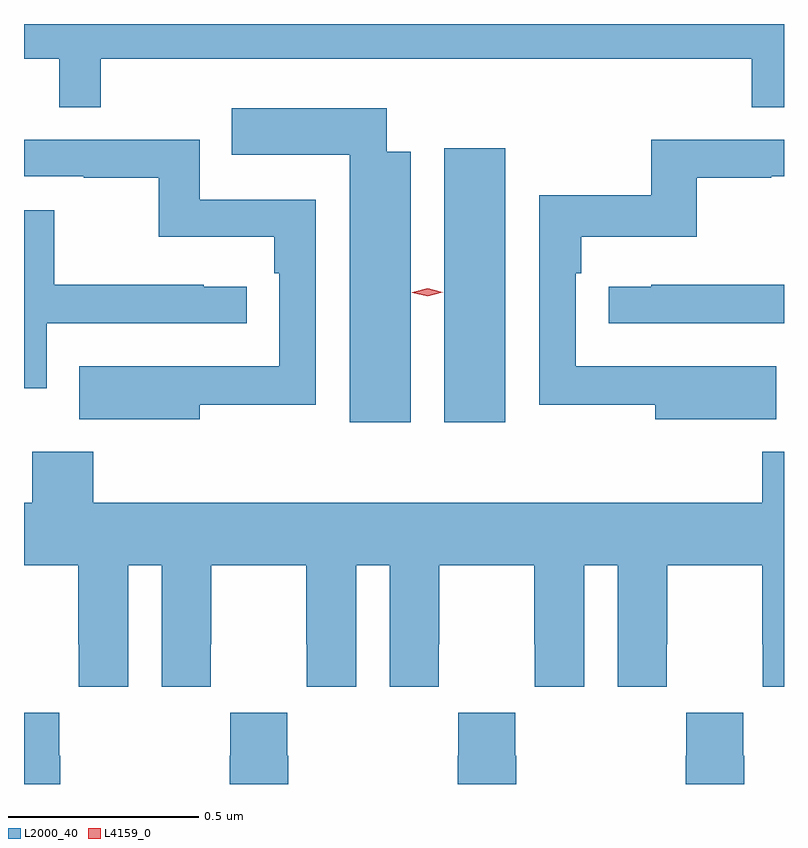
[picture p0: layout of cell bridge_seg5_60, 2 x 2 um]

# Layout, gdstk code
import gdstk
lib = gdstk.Library(unit=1e-6, precision=1e-09)
def R(c, l, rs):  # rectangles x0, y0, x1, y1
    for r in rs: c.add(gdstk.rectangle(r[:2], r[2:], *l))
def P(c, l, *ps):  # polygons
    for p in ps: c.add(gdstk.Polygon(p, *l))
L2000_40 = (2000, 40)
L4159_0 = (4159, 0)

bridge_seg5_60 = lib.new_cell('bridge_seg5_60')
R(bridge_seg5_60, L2000_40, [(888.632,891.768,888.793,892.489)])
P(bridge_seg5_60, L2000_40, [(887.728,892.724),(889.441,892.724),(889.441,892.597),(889.526,892.597),(889.526,892.816),(887.526,892.816),(887.526,892.724),(887.619,892.724),(887.619,892.597),(887.728,892.597)],
  [(888.544,892.48),(888.481,892.48),(888.481,892.594),(888.073,892.594),(888.073,892.472),(888.383,892.472),(888.383,891.768),(888.544,891.768)],
  [(887.989,891.814),(888.294,891.814),(888.294,892.353),(887.988,892.353),(887.988,892.512),(887.526,892.512),(887.526,892.416),(887.683,892.416),(887.683,892.411),(887.88,892.411),(887.88,892.256),(888.185,892.256),(888.185,892.16),(888.198,892.16),(888.198,891.915),(887.885,891.915),(887.885,891.916),(887.671,891.916),(887.671,891.776),(887.989,891.776)],
  [(889.505,891.916),(889.291,891.916),(889.291,891.915),(888.978,891.915),(888.978,892.16),(888.992,892.16),(888.992,892.256),(889.297,892.256),(889.297,892.411),(889.493,892.411),(889.493,892.416),(889.526,892.416),(889.526,892.512),(889.176,892.512),(889.176,892.366),(888.882,892.366),(888.882,891.814),(889.187,891.814),(889.187,891.776),(889.505,891.776)],
  [(887.586,892.029),(888.112,892.029),(888.112,892.125),(887.999,892.125),(887.999,892.13),(887.606,892.13),(887.606,892.326),(887.526,892.326),(887.526,891.857),(887.586,891.857)],
  [(889.526,892.13),(889.177,892.13),(889.177,892.125),(889.065,892.125),(889.065,892.029),(889.526,892.029)],
  [(887.548,891.556),(887.526,891.556),(887.526,891.392),(887.669,891.392),(887.669,891.184),(887.67,891.184),(887.67,891.072),(887.8,891.072),(887.8,891.392),(887.888,891.392),(887.888,891.072),(888.018,891.072),(888.018,891.184),(888.019,891.184),(888.019,891.392),(888.269,891.392),(888.269,891.184),(888.27,891.184),(888.27,891.072),(888.4,891.072),(888.4,891.392),(888.488,891.392),(888.488,891.072),(888.618,891.072),(888.618,891.184),(888.619,891.184),(888.619,891.392),(888.869,891.392),(888.869,891.184),(888.87,891.184),(888.87,891.072),(889,891.072),(889,891.392),(889.088,891.392),(889.088,891.072),(889.218,891.072),(889.218,891.184),(889.219,891.184),(889.219,891.392),(889.469,891.392),(889.469,891.184),(889.47,891.184),(889.47,891.072),(889.526,891.072),(889.526,891.691),(889.469,891.691),(889.469,891.556),(887.708,891.556),(887.708,891.691),(887.548,891.691)],
  [(887.622,890.891),(887.619,890.891),(887.619,891.004),(887.526,891.004),(887.526,890.816),(887.622,890.816)],
  [(888.222,890.891),(888.219,890.891),(888.219,891.004),(888.069,891.004),(888.069,890.891),(888.067,890.891),(888.067,890.816),(888.222,890.816)],
  [(888.822,890.891),(888.819,890.891),(888.819,891.004),(888.669,891.004),(888.669,890.891),(888.667,890.891),(888.667,890.816),(888.822,890.816)],
  [(889.422,890.891),(889.419,890.891),(889.419,891.004),(889.269,891.004),(889.269,890.891),(889.267,890.891),(889.267,890.816),(889.422,890.816)])
P(bridge_seg5_60, L4159_0, [(888.588,892.1),(888.548,892.109),(888.548,892.11),(888.548,892.11),(888.588,892.12),(888.628,892.11),(888.628,892.11),(888.628,892.11)])

lib.write_gds('bridge_seg5_60.gds')
